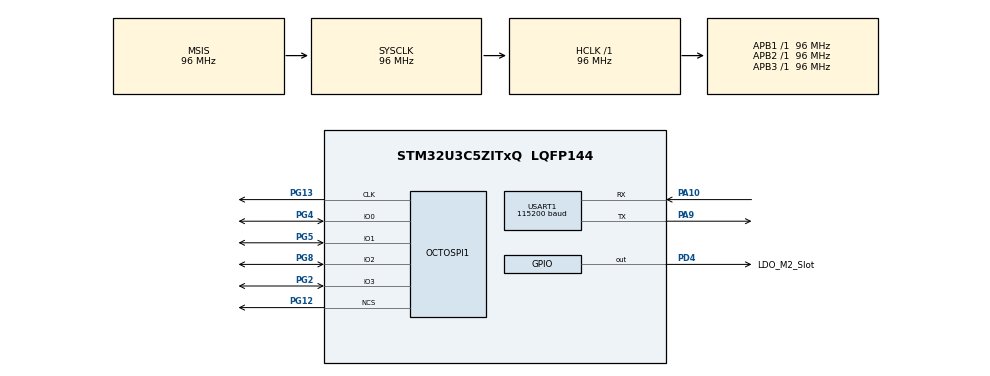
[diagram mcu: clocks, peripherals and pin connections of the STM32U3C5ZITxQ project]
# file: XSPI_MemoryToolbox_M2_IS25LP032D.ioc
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CORTEX_M33_NS.userName=CORTEX_M33
Mcu.Family=STM32U3
Mcu.Name=STM32U3C5ZITxQ
Mcu.Package=LQFP144
NVIC.PriorityGroup=NVIC_PRIORITYGROUP_4
OCTOSPI1.ChipSelectHighTimeCycle=10
OCTOSPI1.ClockPrescaler=1
OCTOSPI1.DelayBlockBypass=HAL_XSPI_DELAY_BLOCK_ON
OCTOSPI1.FifoThresholdByte=4
OCTOSPI1.MemorySize=HAL_XSPI_SIZE_32MB
OCTOSPI1.MemoryType=HAL_XSPI_MEMTYPE_MACRONIX
OCTOSPI1.SampleShifting=HAL_XSPI_SAMPLE_SHIFT_NONE
PA10.Mode=Asynchronous
PA10.Signal=USART1_RX
PA13\ (JTMS/SWDIO).Mode=Trace_Asynchronous_SW
PA13\ (JTMS/SWDIO).Signal=DEBUG_JTMS-SWDIO
PA14\ (JTCK/SWCLK).Mode=Trace_Asynchronous_SW
PA14\ (JTCK/SWCLK).Signal=DEBUG_JTCK-SWCLK
PA9.Mode=Asynchronous
PA9.Signal=USART1_TX
PB3\ (JTDO/TRACESWO).Mode=Trace_Asynchronous_SW
PB3\ (JTDO/TRACESWO).Signal=DEBUG_JTDO-SWO
PD4.GPIO_Label=LDO_M2_Slot
PD4.GPIO_Speed=GPIO_SPEED_FREQ_MEDIUM
PD4.Signal=GPIO_Output
PG10.Signal=OCTOSPI1_IO7
PG12.Mode=quad_mode
PG12.Signal=OCTOSPI1_NCS
PG13.Mode=quad_mode
PG13.Signal=OCTOSPI1_CLK
PG15.Signal=OCTOSPI1_DQS
PG2.Mode=OCTOSPI1_IO[3\:0]
PG2.Signal=OCTOSPI1_IO3
PG3.Signal=OCTOSPI1_IO4
PG4.Mode=OCTOSPI1_IO[3\:0]
PG4.Signal=OCTOSPI1_IO0
PG5.Mode=OCTOSPI1_IO[3\:0]
PG5.Signal=OCTOSPI1_IO1
PG6.Signal=OCTOSPI1_IO5
PG8.Mode=OCTOSPI1_IO[3\:0]
PG8.Signal=OCTOSPI1_IO2
PG9.Signal=OCTOSPI1_IO6
ProjectManager.HeapSize=0x1000
ProjectManager.StackSize=0x1000
ProjectManager.TargetToolchain=EWARM V9.20
RCC.ADCFreq_Value=96000000
RCC.AHBFreq_Value=96000000
RCC.APB1Freq_Value=96000000
RCC.APB1TimFreq_Value=96000000
RCC.APB2Freq_Value=96000000
RCC.APB2TimFreq_Value=96000000
RCC.APB3Freq_Value=96000000
RCC.CortexFreq_Value=12000000
RCC.HCLKFreq_Value=96000000
RCC.HSE_VALUE=16000000
RCC.HSI48_VALUE=48000000
RCC.HSI_VALUE=16000000
RCC.LSE_VALUE=32768
RCC.LSIDIV_VALUE=32000
RCC.MSIKDIV=RCC_MSI_DIV2
RCC.MSISDIV=RCC_MSI_DIV1
RCC.MSI_VALUE=96000000
RCC.SYSCLKFreq_VALUE=96000000
RCC.USBFreq_Value=96000000
USART1.BaudRate=115200
USART1.VirtualMode-Asynchronous=VM_ASYNC
VP_ICACHE_VS_ICACHE.Mode=DirectMappedCache
VP_PWR_VS_DBSignals.Mode=DisableDeadBatterySignals
VP_PWR_VS_SECSignals.Mode=Security/Privilege
board=custom

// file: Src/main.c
/* USER CODE BEGIN Header */
/**
  ******************************************************************************
  * @file           : main.c
  * @brief          : Main program body
  ******************************************************************************
  * @attention
  *
  * Copyright (c) 2025 STMicroelectronics.
  * All rights reserved.
  *
  * This software is licensed under terms that can be found in the LICENSE file
  * in the root directory of this software component.
  * If no LICENSE file comes with this software, it is provided AS-IS.
  *
  ******************************************************************************
  */
/* USER CODE END Header */
#include "main.h"

XSPI_HandleTypeDef hxspi1;

UART_HandleTypeDef huart1;

/* USER CODE BEGIN PV */
/* Buffer used for transmission */
uint8_t aTxBuffer[] = " ****Memory-mapped XSPI communication****  ****Memory-mapped XSPI communication****  ****Memory-mapped XSPI communication****  ****Memory-mapped XSPI communication****  ****Memory-mapped XSPI communication****  ****Memory-mapped XSPI communication**** ";

/* Buffer used to check erased pages */
uint8_t ErasedBuffer[MEMORY_PAGE_SIZE];
/* Buffer used to check read data */
uint8_t ReadData[MEMORY_PAGE_SIZE] = {0};

/* Glabal execution result */
Memory_Toolbox_Status_t exec_status = MEMORY_OK;

/* USER CODE END PV */

void SystemClock_Config(void);
static void MX_GPIO_Init(void);
static void MX_ICACHE_Init(void);
static void MX_USART1_UART_Init(void);
static void MX_OCTOSPI1_Init(void);
/* USER CODE BEGIN PFP */
static Memory_Toolbox_Status_t M2_IS25LP032D_NorFlash_Configuration(XSPI_HandleTypeDef *hxspi);

#if defined(EXAMPLE_TRACE_ENABLE)
#if (defined (__GNUC__) && !defined(__ARMCC_VERSION) && defined(EXAMPLE_TRACE_OUTPUT_DEBUG_WINDOW))
extern void initialise_monitor_handles(void);
#endif
static void TraceOutput(const uint8_t *Msg);
#endif /* EXAMPLE_TRACE_ENABLE */

/* USER CODE END PFP */

int main(void)
{

  /* USER CODE BEGIN 1 */
  uint8_t JedecID[3] = {0};
  uint32_t address = 0;
  uint8_t *mem_addr;
  memset(ErasedBuffer, 0xFF, sizeof(ErasedBuffer));
#if defined(EXAMPLE_TRACE_ENABLE)
#if (defined (__GNUC__) && !defined(__ARMCC_VERSION) && defined(EXAMPLE_TRACE_OUTPUT_DEBUG_WINDOW))
  initialise_monitor_handles();
  printf("Semihosting Test...\n\r");
#endif
#endif /* EXAMPLE_TRACE_ENABLE */
  /* USER CODE END 1 */

  /* MCU Configuration--------------------------------------------------------*/

  /* Reset of all peripherals, Initializes the Flash interface and the Systick. */
  HAL_Init();

  /* Configure the system clock */
  SystemClock_Config();

  /* Initialize all configured peripherals */
  MX_GPIO_Init();
  MX_ICACHE_Init();
  MX_USART1_UART_Init();
  MX_OCTOSPI1_Init();
  /* USER CODE BEGIN 2 */

#if defined(EXAMPLE_TRACE_ENABLE)
  /* If Trace system is enabled, register Trace callback */
  Memory_Toolbox_RegisterTraceCallback(TraceOutput);
  /* Select Trace level :
    EXAMPLE_TRACE_LEVEL_NONE     : No information provided in logs
    EXAMPLE_TRACE_LEVEL_CMD_INFO : Step descriptions and commands are provided in logs
    EXAMPLE_TRACE_LEVEL_ALL      : Step descriptions, commands and buffer contents are provided in logs
  */
  Memory_Toolbox_SetTraceLevel(EXAMPLE_TRACE_LEVEL_ALL);
#endif /* EXAMPLE_TRACE_ENABLE */

  /* Initialize LED OK on board */
  BSP_LED_Init(LED_GREEN);

  /* Initialize LED Error on board */
  BSP_LED_Init(LED_RED);

  /* Program Step 1 : Read Jedec ID in 1 Line mode ------------------------------------------- */
  EXECUTE_AND_CHECK(Memory_Toolbox_Read_JedecID(&hxspi1, JedecID));

  /* Program Step 2 : Read SFDP table -------------------------------------------------------- */
  EXECUTE_AND_CHECK(Memory_Toolbox_Read_All_SFDP_Table(&hxspi1));

  /* Program Step 3 : Check Write Enable and Write Disable commands are properly understood by the memory
     and value of WEL bit in SR is updated accordingly
     (Write Enable command use is mandatory for further memory configuration steps ----------- */
  EXECUTE_AND_CHECK(Memory_Toolbox_Check_Write_Enabling(&hxspi1));

  /* Program Step 4 : Configure the Nor Flash memory (Drive strength, Dummy Cycles, Quad mode) */
  EXECUTE_AND_CHECK(M2_IS25LP032D_NorFlash_Configuration(&hxspi1));

  /* Program Step 5 : Write and read data using indirect and memory mapped modes ------------- */
  /* Program Step 5.1: Enable write operation (WE bit) and Erase Sector related to address --- */
  EXECUTE_AND_CHECK(Memory_Toolbox_Erase_Sector(&hxspi1, address));

  /* Read a page from the sector that has been erased (Indirect mode) */
  EXECUTE_AND_CHECK(Memory_Toolbox_Read_MemData(&hxspi1, ReadData, address, MEMORY_PAGE_SIZE));

  /* Verify the page has been erased correctly */
  EXECUTE_AND_CHECK(Memory_Toolbox_MemCmp(ReadData, ErasedBuffer, BUFFERSIZE));

  /* Program Step 5.2: Enable write operation (WE bit) and write data present at address: aTxBuffer */
  EXECUTE_AND_CHECK(Memory_Toolbox_Program_Page(&hxspi1, aTxBuffer, address));

  /* Program Step 5.3: Read written area in indirect mode and store it in buffer ------------- */
  EXECUTE_AND_CHECK(Memory_Toolbox_Read_MemData(&hxspi1, ReadData, address, MEMORY_PAGE_SIZE));

  /* Compare read buffer with original one and check validity of data */
  EXECUTE_AND_CHECK(Memory_Toolbox_MemCmp(ReadData, aTxBuffer, BUFFERSIZE));

  /* Program Step 5.4: Switch memory in Memory Mapped Mode */
  EXECUTE_AND_CHECK(Memory_Toolbox_Enable_MemoryMapped_Mode(&hxspi1));

  /* Program Step 5.5: Read data from memory in memory mapped mode and compare --------------- */
  /* Reading address */
  mem_addr = (uint8_t *)(OCTOSPI1_BASE + address);

  /* Read written area in memory mapped mode and store it in buffer (in memory mapped mode, reading data
     from memory is equivalent to a memory to memory transfer, and could be achieved using a memcpy() service
     or a DMA Memory to Memory transfer for instance */
  EXECUTE_AND_CHECK(Memory_Toolbox_Read_MemData_MemoryMapped_Mode(ReadData, mem_addr, MEMORY_PAGE_SIZE));

  /* Compare read data with original one and check validity of data */
  EXECUTE_AND_CHECK(Memory_Toolbox_MemCmp(ReadData, aTxBuffer, BUFFERSIZE));

  /*  Program Step 5.6: Disable Memory Mapped mode */
  EXECUTE_AND_CHECK(Memory_Toolbox_Disable_MemoryMapped_Mode(&hxspi1));

  /* USER CODE END 2 */

  /* Infinite loop */

    /* USER CODE BEGIN 3 */

  /* Set LED Green on : successful execution of program */
  BSP_LED_On(LED_GREEN);

  while (1)
  {
  }
  /* USER CODE END 3 */
}

void SystemClock_Config(void)
{
  RCC_OscInitTypeDef RCC_OscInitStruct = {0};
  RCC_ClkInitTypeDef RCC_ClkInitStruct = {0};

  /** Configure the System Power Supply
  */
  if (HAL_PWREx_ConfigSupply(PWR_SMPS_SUPPLY) != HAL_OK)
  {
    Error_Handler();
  }

  /** Enable Epod Booster
  */
  if (HAL_RCCEx_EpodBoosterClkConfig(RCC_EPODBOOSTER_SOURCE_MSIS, RCC_EPODBOOSTER_DIV1) != HAL_OK)
  {
    Error_Handler();
  }
  if (HAL_PWREx_EnableEpodBooster() != HAL_OK)
  {
    Error_Handler();
  }

  /** Configure the main internal regulator output voltage
  */
  if (HAL_PWREx_ControlVoltageScaling(PWR_REGULATOR_VOLTAGE_SCALE1) != HAL_OK)
  {
    Error_Handler();
  }

  /** Set Flash latency before increasing MSIS
  */
  __HAL_FLASH_SET_LATENCY(FLASH_LATENCY_3);

  /** Initializes the CPU, AHB and APB buses clocks
  */
  RCC_OscInitStruct.OscillatorType = RCC_OSCILLATORTYPE_MSIS;
  RCC_OscInitStruct.MSISState = RCC_MSI_ON;
  RCC_OscInitStruct.MSISSource = RCC_MSI_RC0;
  RCC_OscInitStruct.MSISDiv = RCC_MSI_DIV1;
  if (HAL_RCC_OscConfig(&RCC_OscInitStruct) != HAL_OK)
  {
    Error_Handler();
  }

  /** Initializes the CPU, AHB and APB buses clocks
  */
  RCC_ClkInitStruct.ClockType = RCC_CLOCKTYPE_HCLK|RCC_CLOCKTYPE_SYSCLK
                              |RCC_CLOCKTYPE_PCLK1|RCC_CLOCKTYPE_PCLK2
                              |RCC_CLOCKTYPE_PCLK3;
  RCC_ClkInitStruct.SYSCLKSource = RCC_SYSCLKSOURCE_MSIS;
  RCC_ClkInitStruct.AHBCLKDivider = RCC_SYSCLK_DIV1;
  RCC_ClkInitStruct.APB1CLKDivider = RCC_HCLK_DIV1;
  RCC_ClkInitStruct.APB2CLKDivider = RCC_HCLK_DIV1;
  RCC_ClkInitStruct.APB3CLKDivider = RCC_HCLK_DIV1;

  if (HAL_RCC_ClockConfig(&RCC_ClkInitStruct, FLASH_LATENCY_3) != HAL_OK)
  {
    Error_Handler();
  }
}

static void MX_ICACHE_Init(void)
{

  /** Enable instruction cache in 1-way (direct mapped cache)
  */
  if (HAL_ICACHE_ConfigAssociativityMode(ICACHE_1WAY) != HAL_OK)
  {
    Error_Handler();
  }
  if (HAL_ICACHE_Enable() != HAL_OK)
  {
    Error_Handler();
  }

}

static void MX_OCTOSPI1_Init(void)
{

  HAL_XSPI_DLYB_CfgTypeDef HAL_XSPI_DLYB_Cfg_Struct = {0};

  /* OCTOSPI1 parameter configuration*/
  hxspi1.Instance = OCTOSPI1;
  hxspi1.Init.FifoThresholdByte = 4;
  hxspi1.Init.MemoryMode = HAL_XSPI_SINGLE_MEM;
  hxspi1.Init.MemoryType = HAL_XSPI_MEMTYPE_MACRONIX;
  hxspi1.Init.MemorySize = HAL_XSPI_SIZE_32MB;
  hxspi1.Init.ChipSelectHighTimeCycle = 10;
  hxspi1.Init.FreeRunningClock = HAL_XSPI_FREERUNCLK_DISABLE;
  hxspi1.Init.ClockMode = HAL_XSPI_CLOCK_MODE_0;
  hxspi1.Init.WrapSize = HAL_XSPI_WRAP_NOT_SUPPORTED;
  hxspi1.Init.ClockPrescaler = 1;
  hxspi1.Init.SampleShifting = HAL_XSPI_SAMPLE_SHIFT_NONE;
  hxspi1.Init.DelayHoldQuarterCycle = HAL_XSPI_DHQC_DISABLE;
  hxspi1.Init.ChipSelectBoundary = HAL_XSPI_BONDARYOF_NONE;
  hxspi1.Init.DelayBlockBypass = HAL_XSPI_DELAY_BLOCK_ON;
  hxspi1.Init.Refresh = 0;
  if (HAL_XSPI_Init(&hxspi1) != HAL_OK)
  {
    Error_Handler();
  }
  HAL_XSPI_DLYB_Cfg_Struct.Units = 0;
  HAL_XSPI_DLYB_Cfg_Struct.PhaseSel = 0;
  if (HAL_XSPI_DLYB_SetConfig(&hxspi1, &HAL_XSPI_DLYB_Cfg_Struct) != HAL_OK)
  {
    Error_Handler();
  }
  /* USER CODE BEGIN OCTOSPI1_Init 2 */

  if (HAL_XSPI_DLYB_GetClockPeriod(&hxspi1, &HAL_XSPI_DLYB_Cfg_Struct) != HAL_OK)
  {
    Error_Handler();
  }

  HAL_XSPI_DLYB_Cfg_Struct.PhaseSel /= 4;

  if (HAL_XSPI_DLYB_SetConfig(&hxspi1, &HAL_XSPI_DLYB_Cfg_Struct) != HAL_OK)
  {
    Error_Handler();
  }
  /* USER CODE END OCTOSPI1_Init 2 */

}

static void MX_USART1_UART_Init(void)
{

  huart1.Instance = USART1;
  huart1.Init.BaudRate = 115200;
  huart1.Init.WordLength = UART_WORDLENGTH_8B;
  huart1.Init.StopBits = UART_STOPBITS_1;
  huart1.Init.Parity = UART_PARITY_NONE;
  huart1.Init.Mode = UART_MODE_TX_RX;
  huart1.Init.HwFlowCtl = UART_HWCONTROL_NONE;
  huart1.Init.OverSampling = UART_OVERSAMPLING_16;
  huart1.Init.OneBitSampling = UART_ONE_BIT_SAMPLE_DISABLE;
  huart1.Init.ClockPrescaler = UART_PRESCALER_DIV1;
  huart1.AdvancedInit.AdvFeatureInit = UART_ADVFEATURE_NO_INIT;
  if (HAL_UART_Init(&huart1) != HAL_OK)
  {
    Error_Handler();
  }
  if (HAL_UARTEx_SetTxFifoThreshold(&huart1, UART_TXFIFO_THRESHOLD_1_8) != HAL_OK)
  {
    Error_Handler();
  }
  if (HAL_UARTEx_SetRxFifoThreshold(&huart1, UART_RXFIFO_THRESHOLD_1_8) != HAL_OK)
  {
    Error_Handler();
  }
  if (HAL_UARTEx_DisableFifoMode(&huart1) != HAL_OK)
  {
    Error_Handler();
  }

}

static void MX_GPIO_Init(void)
{
  GPIO_InitTypeDef GPIO_InitStruct = {0};

  /* GPIO Ports Clock Enable */
  __HAL_RCC_GPIOG_CLK_ENABLE();
  __HAL_RCC_GPIOA_CLK_ENABLE();
  __HAL_RCC_GPIOD_CLK_ENABLE();
  __HAL_RCC_GPIOB_CLK_ENABLE();

  /*Configure GPIO pin Output Level */
  HAL_GPIO_WritePin(LDO_M2_Slot_GPIO_Port, LDO_M2_Slot_Pin, GPIO_PIN_RESET);

  /*Configure GPIO pin : LDO_M2_Slot_Pin */
  GPIO_InitStruct.Pin = LDO_M2_Slot_Pin;
  GPIO_InitStruct.Mode = GPIO_MODE_OUTPUT_PP;
  GPIO_InitStruct.Pull = GPIO_NOPULL;
  GPIO_InitStruct.Speed = GPIO_SPEED_FREQ_MEDIUM;
  HAL_GPIO_Init(LDO_M2_Slot_GPIO_Port, &GPIO_InitStruct);

  /* USER CODE BEGIN MX_GPIO_Init_2 */

  /* Configure GPIO pin Output Level : Disable LDO to ensure cold reset of memory */
  HAL_GPIO_WritePin(LDO_M2_Slot_GPIO_Port, LDO_M2_Slot_Pin, GPIO_PIN_RESET);
  HAL_Delay(MEMORY_M2_BOARD_LDO_RESET_TIME);

  /* Configure GPIO pin Output Level : enable LDO */
  HAL_GPIO_WritePin(LDO_M2_Slot_GPIO_Port, LDO_M2_Slot_Pin, GPIO_PIN_SET);

  /* Wait for LDO setup time */
  HAL_Delay(MEMORY_M2_BOARD_LDO_SETUP_TIME);

  /* USER CODE END MX_GPIO_Init_2 */
}

/* USER CODE BEGIN 4 */

/**
  * @brief  Configures the memory ISSI IS25LP032D in Quad mode + Drive Strength and Dummy cycles updates.
  * @param  hxspi: XSPI handle
  * @retval None
  */
static Memory_Toolbox_Status_t M2_IS25LP032D_NorFlash_Configuration(XSPI_HandleTypeDef *hxspi)
{
  HAL_XSPI_DLYB_CfgTypeDef DlybCfgStruct       = {0};
  uint8_t RegBufferWrite[3]                    = {0};
  uint8_t RegBufferRead[3]                     = {0};

#if defined(EXAMPLE_TRACE_ENABLE)
  /* Print current frequency of Clock signal provided to memory in log.
     Default value is expected to be 48Mhz for configuration step */
  Memory_Toolbox_LogFrequency(&hxspi1);
#endif /* EXAMPLE_TRACE_ENABLE */

  /* Read Status Register */
  Memory_Toolbox_ReadStatusRegister(hxspi, RegBufferRead, 1U, MEMORY_STARTUP_MODE);
  RegBufferWrite[0] = RegBufferRead[0] | M2_IS25LP032D_REG_SR_QUAD_ENABLE_VALUE;

  /* Write Status Register with updated content (QE bit enabled) */
  Memory_Toolbox_WriteStatusRegister(hxspi, RegBufferWrite, 1U);

  /* Read READ Register */
  Memory_Toolbox_ReadReadRegister(hxspi, RegBufferRead, 1U);
  RegBufferWrite[0] = (RegBufferRead[0] & ~M2_IS25LP032D_REG_RR_DUMMY_CYCLE_MASK)
                      | M2_IS25LP032D_REG_RR_DUMMY_CYCLE_VALUE;

  /* Write READ Register with updated content (Dummy Cycles configuration) */
  Memory_Toolbox_WriteReadRegister(hxspi, RegBufferWrite, 1U);

  /* Read Extended Register */
  Memory_Toolbox_ReadExtendedRegister(hxspi, RegBufferRead, 1U);
  RegBufferWrite[0] = (RegBufferRead[0] & ~M2_IS25LP032D_REG_ER_DRIVE_STRENGTH_MASK)
                      | M2_IS25LP032D_REG_ER_DRIVE_STRENGTH_VALUE;

  /* Write Extended Register with updated content (Drive Strength configuration) */
  Memory_Toolbox_WriteExtendedRegister(hxspi, RegBufferWrite, 1U);

  /* Send enter Quad command */
  Memory_Toolbox_EnterQuad(hxspi);

  /* Update clock Frequency to max supported frequency : 96 Mhz */
  HAL_XSPI_SetClockPrescaler(hxspi, 0U);

  /* Reinitialize DLYB to fit with this new frequency */
  if (HAL_XSPI_DLYB_GetClockPeriod(&hxspi1, &DlybCfgStruct) != HAL_OK)
  {
    return (MEMORY_DLYB_CONFIG_KO);
  }

  /* Update PhaseSel/Units for the new configuration */
  DlybCfgStruct.PhaseSel /= 2U;

  /* Set new delay block configuration*/
  if (HAL_XSPI_DLYB_SetConfig(&hxspi1, &DlybCfgStruct) != HAL_OK)
  {
    return (MEMORY_DLYB_CONFIG_KO);
  }

#if defined(EXAMPLE_TRACE_ENABLE)
  /* Dump register content after configuration step (could be found in memory_toolbox_register_dump[] array) */
  Memory_Toolbox_Dump_Registers();

  /* Print updated frequency of Clock signal after configuration step */
  Memory_Toolbox_LogFrequency(&hxspi1);
#endif /* EXAMPLE_TRACE_ENABLE */

  /* Read status Register to validate configuration and clock change */
  return (Memory_Toolbox_ReadStatusRegister(hxspi, RegBufferRead, 1U, MEMORY_HIGH_PERFORMANCE));
}

#if defined(EXAMPLE_TRACE_ENABLE)
/**
  * @brief This function outputs trace data
  * @param Msg Trace data to be evacuated
  * @retval None
  **/
static void TraceOutput(const uint8_t *Msg)
{
#if defined(EXAMPLE_TRACE_OUTPUT_UART)
  HAL_UART_Transmit(&huart1, (const uint8_t *)Msg, strlen((const char *)Msg), 1000U);
#elif defined(EXAMPLE_TRACE_OUTPUT_DEBUG_WINDOW)
  printf("%s", Msg);
#endif /* EXAMPLE_TRACE_OUTPUT_UART */
}
#endif /* EXAMPLE_TRACE_ENABLE */

#if defined(__GNUC__)
/**
  * @brief  Retargets the C library printf function to the USART.
  * @param  None
  * @retval None
  */
int __io_putchar(int ch)
{
  ITM_SendChar(ch);

  return ch;
}
#endif /* __GNUC__ */

/* USER CODE END 4 */

void Error_Handler(void)
{
  /* USER CODE BEGIN Error_Handler_Debug */
  /* User can add his own implementation to report the HAL error return state */
  __disable_irq();
  /* Switch LED RED on */
  BSP_LED_On(LED_RED);

#if defined(EXAMPLE_TRACE_ENABLE)
  /* Print error message in log */
  Memory_Toolbox_LogStatus(exec_status);
#endif /* EXAMPLE_TRACE_ENABLE */

  while (1)
  {
  }
  /* USER CODE END Error_Handler_Debug */
}
